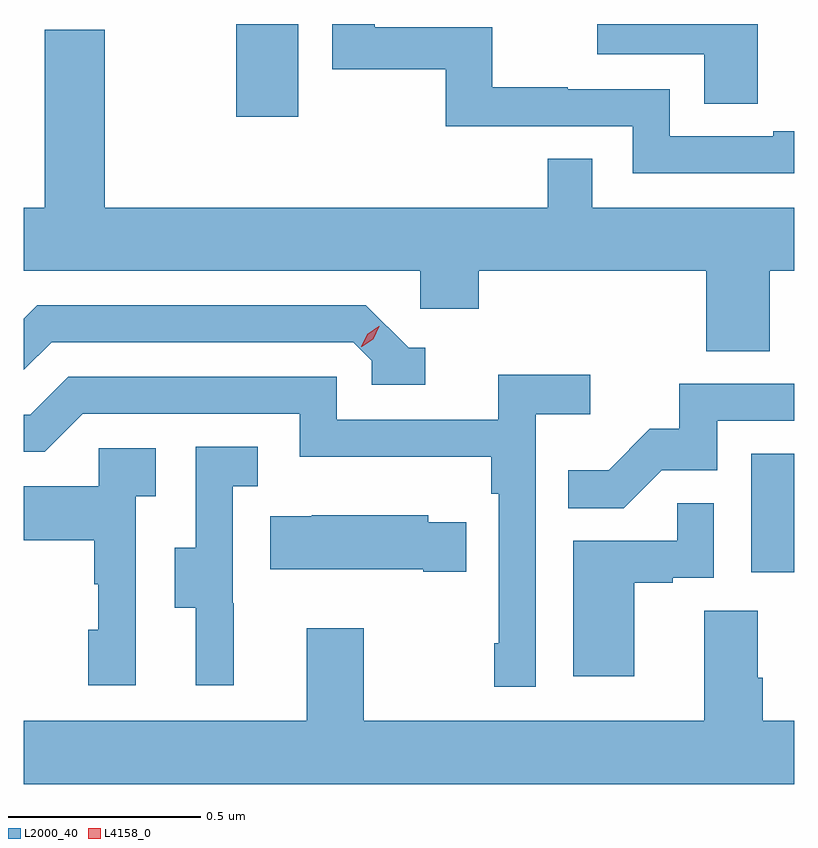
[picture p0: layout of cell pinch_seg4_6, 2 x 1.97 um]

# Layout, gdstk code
import gdstk
lib = gdstk.Library(unit=1e-6, precision=1e-09)
def R(c, l, rs):  # rectangles x0, y0, x1, y1
    for r in rs: c.add(gdstk.rectangle(r[:2], r[2:], *l))
def P(c, l, *ps):  # polygons
    for p in ps: c.add(gdstk.Polygon(p, *l))
L2000_40 = (2000, 40)
L4158_0 = (4158, 0)

pinch_seg4_6 = lib.new_cell('pinch_seg4_6')
R(pinch_seg4_6, L2000_40, [(1102.868,822.678,1102.979,822.985), (1101.53,823.86,1101.691,824.101)])
P(pinch_seg4_6, L2000_40, [(1102.885,824.101),(1102.468,824.101),(1102.468,824.022),(1102.745,824.022),(1102.745,823.894),(1102.885,823.894)],
  [(1102.979,823.822),(1102.925,823.822),(1102.925,823.809),(1102.656,823.809),(1102.656,823.932),(1102.391,823.932),(1102.391,823.937),(1102.195,823.937),(1102.195,824.092),(1101.89,824.092),(1101.89,824.101),(1101.78,824.101),(1101.78,823.983),(1102.074,823.983),(1102.074,823.836),(1102.56,823.836),(1102.56,823.713),(1102.979,823.713)],
  [(1102.916,823.46),(1102.979,823.46),(1102.979,823.624),(1102.455,823.624),(1102.455,823.751),(1102.339,823.751),(1102.339,823.624),(1101.189,823.624),(1101.189,824.086),(1101.034,824.086),(1101.034,823.624),(1100.979,823.624),(1100.979,823.46),(1102.008,823.46),(1102.008,823.362),(1102.16,823.362),(1102.16,823.46),(1102.751,823.46),(1102.751,823.252),(1102.916,823.252)],
  [(1102.021,823.26),(1101.978,823.26),(1101.867,823.371),(1101.014,823.371),(1100.979,823.336),(1100.979,823.203),(1101.051,823.275),(1101.834,823.275),(1101.882,823.227),(1101.882,823.164),(1102.021,823.164)],
  [(1102.308,823.088),(1102.45,823.088),(1102.45,823.19),(1102.211,823.19),(1102.211,823.074),(1101.792,823.074),(1101.792,823.185),(1101.095,823.185),(1100.996,823.086),(1100.979,823.086),(1100.979,822.99),(1101.033,822.99),(1101.132,823.089),(1101.696,823.089),(1101.696,822.977),(1102.192,822.977),(1102.192,822.881),(1102.212,822.881),(1102.212,822.493),(1102.2,822.493),(1102.2,822.381),(1102.308,822.381)],
  [(1102.635,822.942),(1102.779,822.942),(1102.779,823.071),(1102.979,823.071),(1102.979,823.167),(1102.681,823.167),(1102.681,823.05),(1102.604,823.05),(1102.497,822.943),(1102.393,822.943),(1102.393,822.844),(1102.537,822.844)],
  [(1101.524,822.597),(1101.522,822.597),(1101.522,822.901),(1101.586,822.901),(1101.586,823.004),(1101.426,823.004),(1101.426,822.741),(1101.371,822.741),(1101.371,822.586),(1101.425,822.586),(1101.425,822.384),(1101.524,822.384)],
  [(1101.27,822.875),(1101.322,822.875),(1101.322,822.999),(1101.174,822.999),(1101.174,822.901),(1100.979,822.901),(1100.979,822.761),(1101.162,822.761),(1101.162,822.647),(1101.172,822.647),(1101.172,822.528),(1101.146,822.528),(1101.146,822.384),(1101.27,822.384)],
  [(1102.564,822.651),(1102.664,822.651),(1102.664,822.663),(1102.77,822.663),(1102.77,822.857),(1102.675,822.857),(1102.675,822.759),(1102.406,822.759),(1102.406,822.408),(1102.564,822.408)],
  [(1102.127,822.808),(1102.029,822.808),(1102.029,822.826),(1101.727,822.826),(1101.727,822.823),(1101.619,822.823),(1101.619,822.686),(1102.016,822.686),(1102.016,822.679),(1102.127,822.679)],
  [(1102.979,822.292),(1102.898,822.292),(1102.898,822.404),(1102.885,822.404),(1102.885,822.578),(1102.745,822.578),(1102.745,822.292),(1101.861,822.292),(1101.861,822.532),(1101.713,822.532),(1101.713,822.292),(1100.979,822.292),(1100.979,822.128),(1102.979,822.128)])
P(pinch_seg4_6, L4158_0, [(1101.855,823.263),(1101.855,823.263),(1101.871,823.296),(1101.901,823.316),(1101.902,823.316),(1101.902,823.316),(1101.886,823.283),(1101.856,823.263)])

lib.write_gds('pinch_seg4_6.gds')
